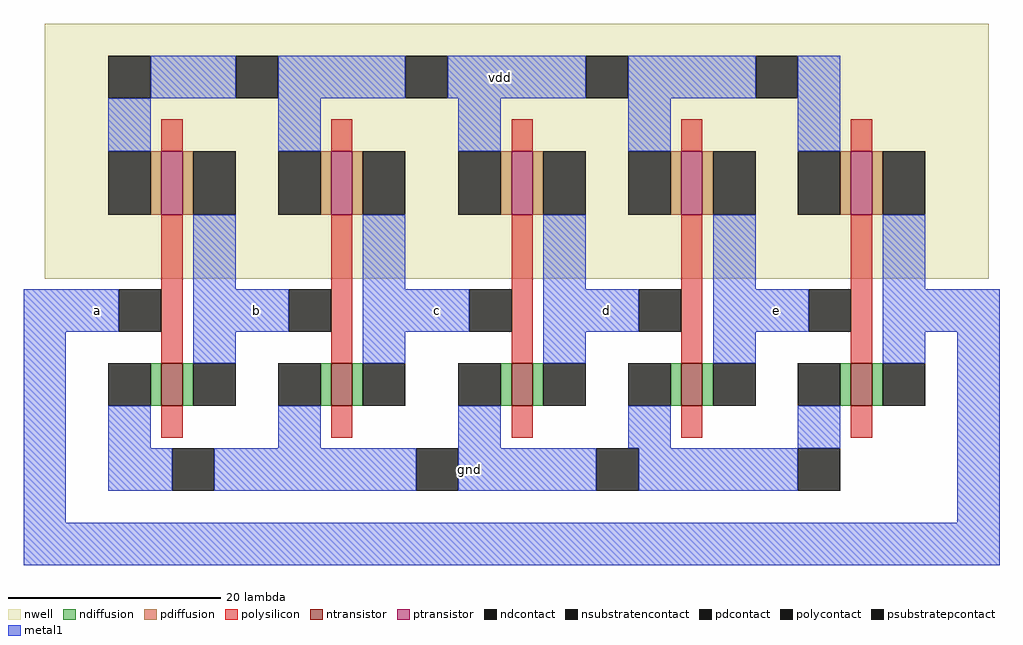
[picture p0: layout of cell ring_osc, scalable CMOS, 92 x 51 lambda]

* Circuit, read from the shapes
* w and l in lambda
.subckt ring_osc a b c d e gnd vdd
M1 b a gnd gnd nfet w=4 l=2
M2 c b gnd gnd nfet w=4 l=2
M3 d c gnd gnd nfet w=4 l=2
M4 e d gnd gnd nfet w=4 l=2
M5 a e gnd gnd nfet w=4 l=2
M6 b a vdd vdd pfet w=6 l=2
M7 c b vdd vdd pfet w=6 l=2
M8 d c vdd vdd pfet w=6 l=2
M9 e d vdd vdd pfet w=6 l=2
M10 a e vdd vdd pfet w=6 l=2
.ends

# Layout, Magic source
magic
tech scmos
<< nwell >>
rect 21 8 110 32
<< ntransistor >>
rect 32 -4 34 0
rect 48 -4 50 0
rect 65 -4 67 0
rect 81 -4 83 0
rect 97 -4 99 0
<< ptransistor >>
rect 32 14 34 20
rect 48 14 50 20
rect 65 14 67 20
rect 81 14 83 20
rect 97 14 99 20
<< ndiffusion >>
rect 31 -4 32 0
rect 34 -4 35 0
rect 47 -4 48 0
rect 50 -4 51 0
rect 64 -4 65 0
rect 67 -4 68 0
rect 80 -4 81 0
rect 83 -4 84 0
rect 96 -4 97 0
rect 99 -4 100 0
<< pdiffusion >>
rect 31 14 32 20
rect 34 14 35 20
rect 47 14 48 20
rect 50 14 51 20
rect 64 14 65 20
rect 67 14 68 20
rect 80 14 81 20
rect 83 14 84 20
rect 96 14 97 20
rect 99 14 100 20
<< ndcontact >>
rect 27 -4 31 0
rect 35 -4 39 0
rect 43 -4 47 0
rect 51 -4 55 0
rect 60 -4 64 0
rect 68 -4 72 0
rect 76 -4 80 0
rect 84 -4 88 0
rect 92 -4 96 0
rect 100 -4 104 0
<< pdcontact >>
rect 27 14 31 20
rect 35 14 39 20
rect 43 14 47 20
rect 51 14 55 20
rect 60 14 64 20
rect 68 14 72 20
rect 76 14 80 20
rect 84 14 88 20
rect 92 14 96 20
rect 100 14 104 20
<< psubstratepcontact >>
rect 33 -12 37 -8
rect 56 -12 60 -8
rect 73 -12 77 -8
rect 92 -12 96 -8
<< nsubstratencontact >>
rect 27 25 31 29
rect 39 25 43 29
rect 55 25 59 29
rect 72 25 76 29
rect 88 25 92 29
<< polysilicon >>
rect 32 20 34 23
rect 48 20 50 23
rect 65 20 67 23
rect 81 20 83 23
rect 97 20 99 23
rect 32 0 34 14
rect 48 0 50 14
rect 65 0 67 14
rect 81 0 83 14
rect 97 0 99 14
rect 32 -7 34 -4
rect 48 -7 50 -4
rect 65 -7 67 -4
rect 81 -7 83 -4
rect 97 -7 99 -4
<< polycontact >>
rect 28 3 32 7
rect 44 3 48 7
rect 61 3 65 7
rect 77 3 81 7
rect 93 3 97 7
<< metal1 >>
rect 31 25 39 29
rect 43 25 55 29
rect 59 25 72 29
rect 76 25 88 29
rect 27 20 31 25
rect 43 20 47 25
rect 60 20 64 25
rect 76 20 80 25
rect 92 20 96 29
rect 35 7 39 14
rect 51 7 55 14
rect 68 7 72 14
rect 84 7 88 14
rect 100 7 104 14
rect 19 3 28 7
rect 35 3 44 7
rect 51 3 61 7
rect 68 3 77 7
rect 84 3 93 7
rect 100 3 111 7
rect 19 -15 23 3
rect 35 0 39 3
rect 51 0 55 3
rect 68 0 72 3
rect 84 0 88 3
rect 100 0 104 3
rect 27 -8 31 -4
rect 43 -8 47 -4
rect 60 -8 64 -4
rect 76 -8 80 -4
rect 92 -8 96 -4
rect 27 -12 33 -8
rect 37 -12 56 -8
rect 60 -12 73 -8
rect 77 -12 92 -8
rect 107 -15 111 3
rect 19 -19 111 -15
<< labels >>
rlabel metal1 64 27 64 27 5 vdd
rlabel metal1 61 -10 61 -10 1 gnd
rlabel metal1 26 3 26 7 1 a
rlabel metal1 41 3 41 7 1 b
rlabel metal1 58 3 58 7 1 c
rlabel metal1 74 3 74 7 1 d
rlabel metal1 90 3 90 7 1 e
<< end >>
